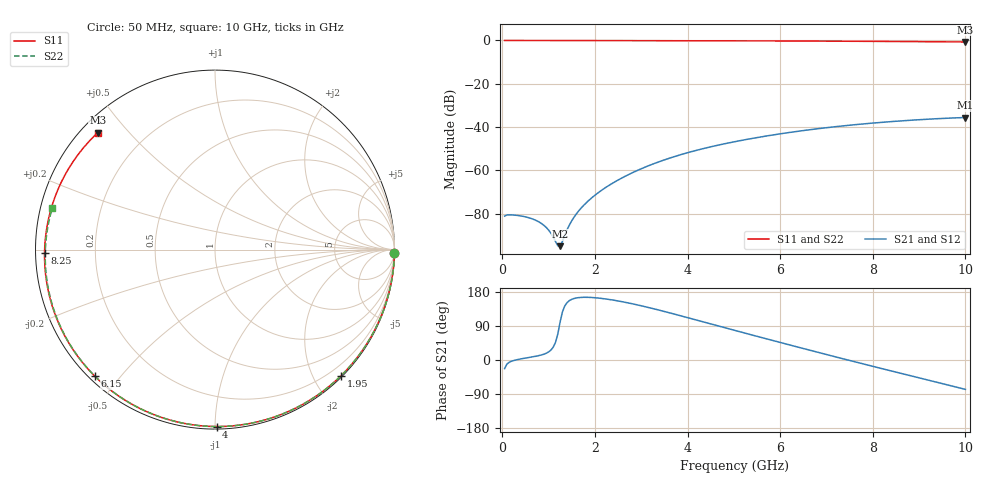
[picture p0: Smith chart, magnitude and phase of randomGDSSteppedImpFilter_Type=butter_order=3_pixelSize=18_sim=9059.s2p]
! freq	dB(S11)	phase(S11)	dB(S12)	phase(S12)
!  dB(S21)	phase(S21)	dB(S22)	phase(S22)
!S-par simulation data
#  GHz  S  DB  R 50
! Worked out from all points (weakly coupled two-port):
!   200 points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, 50 MHz to 10 GHz, reference 50 ohm
!   highest |S21| = -35.61 dB at 10 GHz (marker M1); lowest = -95.1 dB at 1.25 GHz (marker M2)
!   lowest |S11| = -0.7 dB at 10 GHz (marker M3), VSWR 24.83, Z = 2.36 + j20.6 ohm
!   |S11| at or under -10 dB: nowhere
!   |S22| runs from -0.6 to 0.0 dB; largest |S21 - S12| = 0
!   S11 on the Smith chart (normalised r, x): 50 MHz: 0, -97; 1.95 GHz: 0.02, -2.41; 4 GHz: 0.01, -1.01; 6.15 GHz: 0.02, -0.43; 8.25 GHz: 0.03, -0.01; 10 GHz: 0.05, +0.41
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0.05  -0.00 -1.2  -81.16 -22.8  -81.16 -22.8  -0.00 -1.2
0.65  -0.02 -15.3  -82.45 8.2  -82.45 8.2  -0.01 -15.0
1.25  -0.04 -29.2  -95.06 101.2  -95.06 101.2  -0.03 -28.6
1.6  -0.05 -37.2  -80.13 163.7  -80.13 163.7  -0.05 -36.4
1.75  -0.05 -40.6  -76.35 165.5  -76.35 165.5  -0.05 -39.7
1.95  -0.06 -45.1  -72.38 164.8  -72.38 164.8  -0.06 -44.1
2.25  -0.07 -51.8  -67.70 160.8  -67.70 160.8  -0.06 -50.6
2.6  -0.08 -59.6  -63.34 153.6  -63.34 153.6  -0.07 -58.0
3  -0.09 -68.3  -59.28 143.1  -59.28 143.1  -0.09 -66.4
3.4  -0.10 -76.8  -55.93 131.2  -55.93 131.2  -0.10 -74.6
4  -0.12 -89.5  -51.87 111.8  -51.87 111.8  -0.12 -86.5
4.5  -0.14 -99.8  -49.15 95.3  -49.15 95.3  -0.14 -96.1
5.05  -0.17 -111.1  -46.64 77.1  -46.64 77.1  -0.16 -106.4
6.15  -0.24 -133.5  -42.67 41.5  -42.67 41.5  -0.22 -126.2
6.7  -0.28 -144.9  -41.08 23.9  -41.08 23.9  -0.26 -135.8
7.5  -0.36 -161.9  -39.16 -1.3  -39.16 -1.3  -0.32 -149.7
8.25  -0.45 -178.8  -37.74 -24.4  -37.74 -24.4  -0.39 -162.7
8.35  -0.46 178.8  -37.57 -27.4  -37.57 -27.4  -0.40 -164.4
8.8  -0.52 167.9  -36.89 -41.1  -36.89 -41.1  -0.44 -172.3
9.2  -0.57 157.6  -36.37 -53.2  -36.37 -53.2  -0.49 -179.5
9.6  -0.64 146.7  -35.94 -65.3  -35.94 -65.3  -0.53 173.2
10  -0.70 135.1  -35.61 -77.5  -35.61 -77.5  -0.58 165.8
